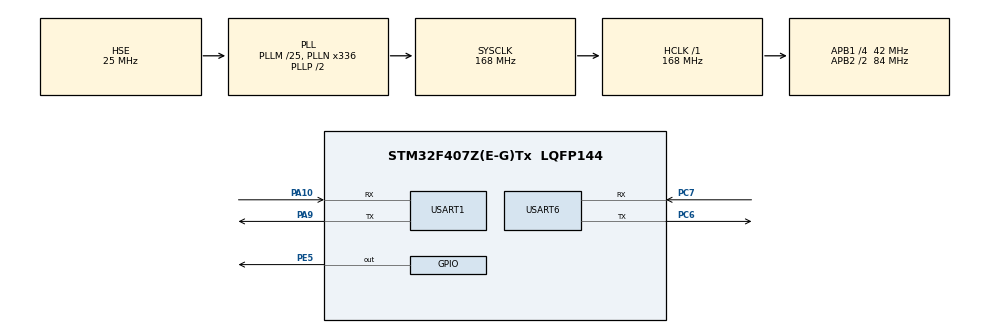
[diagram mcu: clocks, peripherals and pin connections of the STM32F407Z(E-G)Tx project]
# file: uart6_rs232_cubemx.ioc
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Mcu.Family=STM32F4
Mcu.Name=STM32F407Z(E-G)Tx
Mcu.Package=LQFP144
NVIC.PriorityGroup=NVIC_PRIORITYGROUP_4
NVIC.USART6_IRQn=true\:0\:0\:false\:false\:true\:true\:true\:true
PA10.Mode=Asynchronous
PA10.Signal=USART1_RX
PA9.Mode=Asynchronous
PA9.Signal=USART1_TX
PC6.Mode=Asynchronous
PC6.Signal=USART6_TX
PC7.Mode=Asynchronous
PC7.Signal=USART6_RX
PE5.PinState=GPIO_PIN_SET
PE5.Signal=GPIO_Output
PH0-OSC_IN.Mode=HSE-External-Oscillator
PH0-OSC_IN.Signal=RCC_OSC_IN
PH1-OSC_OUT.Mode=HSE-External-Oscillator
PH1-OSC_OUT.Signal=RCC_OSC_OUT
ProjectManager.HeapSize=0x200
ProjectManager.StackSize=0x400
ProjectManager.TargetToolchain=STM32CubeIDE
RCC.48MHZClocksFreq_Value=84000000
RCC.AHBFreq_Value=168000000
RCC.APB1CLKDivider=RCC_HCLK_DIV4
RCC.APB1Freq_Value=42000000
RCC.APB1TimFreq_Value=84000000
RCC.APB2CLKDivider=RCC_HCLK_DIV2
RCC.APB2Freq_Value=84000000
RCC.APB2TimFreq_Value=168000000
RCC.CortexFreq_Value=168000000
RCC.HCLKFreq_Value=168000000
RCC.HSE_VALUE=25000000
RCC.HSI_VALUE=16000000
RCC.LSE_VALUE=32768
RCC.PLLM=25
RCC.PLLN=336
RCC.PLLSourceVirtual=RCC_PLLSOURCE_HSE
RCC.SYSCLKFreq_VALUE=168000000
RCC.SYSCLKSource=RCC_SYSCLKSOURCE_PLLCLK
RCC.VCOOutputFreq_Value=336000000
USART1.VirtualMode=VM_ASYNC
USART6.VirtualMode=VM_ASYNC
board=custom

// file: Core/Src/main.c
/* USER CODE BEGIN Header */
/**
  ******************************************************************************
  * @file           : main.c
  * @brief          : Main program body
  ******************************************************************************
  * @attention
  *
  * Copyright (c) 2026 STMicroelectronics.
  * All rights reserved.
  *
  * This software is licensed under terms that can be found in the LICENSE file
  * in the root directory of this software component.
  * If no LICENSE file comes with this software, it is provided AS-IS.
  *
  ******************************************************************************
  */
/* USER CODE END Header */
#include "main.h"

/* USER CODE BEGIN Includes */
#include <stdio.h>
#include <string.h>
/* USER CODE END Includes */

UART_HandleTypeDef huart1;
UART_HandleTypeDef huart6;

/* USER CODE BEGIN PV */
uint8_t RxData[30];
int indx = 0;

uint8_t RxData_buf[30 + 1];
/* USER CODE END PV */

void SystemClock_Config(void);
static void MX_GPIO_Init(void);
static void MX_USART1_UART_Init(void);
static void MX_USART6_UART_Init(void);

/* USER CODE BEGIN 0 */
#define hUART           huart1
int _write( int32_t file , uint8_t *ptr , int32_t len )
{
    /* Implement your write code here, this is used by puts and printf for example */
    for ( int16_t i = 0 ; i < len ; ++i )
    {
        HAL_UART_Transmit( &hUART, ptr++, 1, 100);
    }
    return len;
}

void HAL_UARTEx_RxEventCallback(UART_HandleTypeDef *huart, uint16_t Size)
{
  indx = Size;
  memset(RxData_buf, 0x00, sizeof(RxData_buf));
  memcpy(RxData_buf, RxData, indx);
  HAL_UARTEx_ReceiveToIdle_IT(huart, RxData, 30);
}
/* USER CODE END 0 */

int main(void)
{

  /* USER CODE BEGIN 1 */
	uint8_t tx_test[100];
    int count = 0;
  /* USER CODE END 1 */

  /* MCU Configuration--------------------------------------------------------*/

  /* Reset of all peripherals, Initializes the Flash interface and the Systick. */
  HAL_Init();

  /* Configure the system clock */
  SystemClock_Config();

  /* Initialize all configured peripherals */
  MX_GPIO_Init();
  MX_USART1_UART_Init();
  MX_USART6_UART_Init();
  /* USER CODE BEGIN 2 */
  printf("UART6 - RS232 test\r\n");
  HAL_UARTEx_ReceiveToIdle_IT(&huart6, RxData, 30);
  /* USER CODE END 2 */

  /* Infinite loop */
  /* USER CODE BEGIN WHILE */
  while (1)
  {
	  if(indx)
	  {
		  printf("%s\r\n", (char *)RxData_buf);
		  indx = 0;

          sprintf((char *)tx_test, "Test chars %d\r\n", count++);
		  HAL_UART_Transmit(&huart6, tx_test, strlen((char *)tx_test), 0xFFFF);
	  }
    /* USER CODE END WHILE */

  }
}

void SystemClock_Config(void)
{
  RCC_OscInitTypeDef RCC_OscInitStruct = {0};
  RCC_ClkInitTypeDef RCC_ClkInitStruct = {0};

  /** Configure the main internal regulator output voltage
  */
  __HAL_RCC_PWR_CLK_ENABLE();
  __HAL_PWR_VOLTAGESCALING_CONFIG(PWR_REGULATOR_VOLTAGE_SCALE1);

  /** Initializes the RCC Oscillators according to the specified parameters
  * in the RCC_OscInitTypeDef structure.
  */
  RCC_OscInitStruct.OscillatorType = RCC_OSCILLATORTYPE_HSE;
  RCC_OscInitStruct.HSEState = RCC_HSE_ON;
  RCC_OscInitStruct.PLL.PLLState = RCC_PLL_ON;
  RCC_OscInitStruct.PLL.PLLSource = RCC_PLLSOURCE_HSE;
  RCC_OscInitStruct.PLL.PLLM = 25;
  RCC_OscInitStruct.PLL.PLLN = 336;
  RCC_OscInitStruct.PLL.PLLP = RCC_PLLP_DIV2;
  RCC_OscInitStruct.PLL.PLLQ = 4;
  if (HAL_RCC_OscConfig(&RCC_OscInitStruct) != HAL_OK)
  {
    Error_Handler();
  }

  /** Initializes the CPU, AHB and APB buses clocks
  */
  RCC_ClkInitStruct.ClockType = RCC_CLOCKTYPE_HCLK|RCC_CLOCKTYPE_SYSCLK
                              |RCC_CLOCKTYPE_PCLK1|RCC_CLOCKTYPE_PCLK2;
  RCC_ClkInitStruct.SYSCLKSource = RCC_SYSCLKSOURCE_PLLCLK;
  RCC_ClkInitStruct.AHBCLKDivider = RCC_SYSCLK_DIV1;
  RCC_ClkInitStruct.APB1CLKDivider = RCC_HCLK_DIV4;
  RCC_ClkInitStruct.APB2CLKDivider = RCC_HCLK_DIV2;

  if (HAL_RCC_ClockConfig(&RCC_ClkInitStruct, FLASH_LATENCY_5) != HAL_OK)
  {
    Error_Handler();
  }
}

static void MX_USART1_UART_Init(void)
{

  huart1.Instance = USART1;
  huart1.Init.BaudRate = 115200;
  huart1.Init.WordLength = UART_WORDLENGTH_8B;
  huart1.Init.StopBits = UART_STOPBITS_1;
  huart1.Init.Parity = UART_PARITY_NONE;
  huart1.Init.Mode = UART_MODE_TX_RX;
  huart1.Init.HwFlowCtl = UART_HWCONTROL_NONE;
  huart1.Init.OverSampling = UART_OVERSAMPLING_16;
  if (HAL_UART_Init(&huart1) != HAL_OK)
  {
    Error_Handler();
  }

}

static void MX_USART6_UART_Init(void)
{

  huart6.Instance = USART6;
  huart6.Init.BaudRate = 115200;
  huart6.Init.WordLength = UART_WORDLENGTH_8B;
  huart6.Init.StopBits = UART_STOPBITS_1;
  huart6.Init.Parity = UART_PARITY_NONE;
  huart6.Init.Mode = UART_MODE_TX_RX;
  huart6.Init.HwFlowCtl = UART_HWCONTROL_NONE;
  huart6.Init.OverSampling = UART_OVERSAMPLING_16;
  if (HAL_UART_Init(&huart6) != HAL_OK)
  {
    Error_Handler();
  }

}

static void MX_GPIO_Init(void)
{
  GPIO_InitTypeDef GPIO_InitStruct = {0};

  /* GPIO Ports Clock Enable */
  __HAL_RCC_GPIOE_CLK_ENABLE();
  __HAL_RCC_GPIOH_CLK_ENABLE();
  __HAL_RCC_GPIOC_CLK_ENABLE();
  __HAL_RCC_GPIOA_CLK_ENABLE();

  /*Configure GPIO pin Output Level */
  HAL_GPIO_WritePin(GPIOE, GPIO_PIN_5, GPIO_PIN_SET);

  /*Configure GPIO pin : PE5 */
  GPIO_InitStruct.Pin = GPIO_PIN_5;
  GPIO_InitStruct.Mode = GPIO_MODE_OUTPUT_PP;
  GPIO_InitStruct.Pull = GPIO_NOPULL;
  GPIO_InitStruct.Speed = GPIO_SPEED_FREQ_LOW;
  HAL_GPIO_Init(GPIOE, &GPIO_InitStruct);

}

void Error_Handler(void)
{
  __disable_irq();
  while (1)
  {
  }
}
